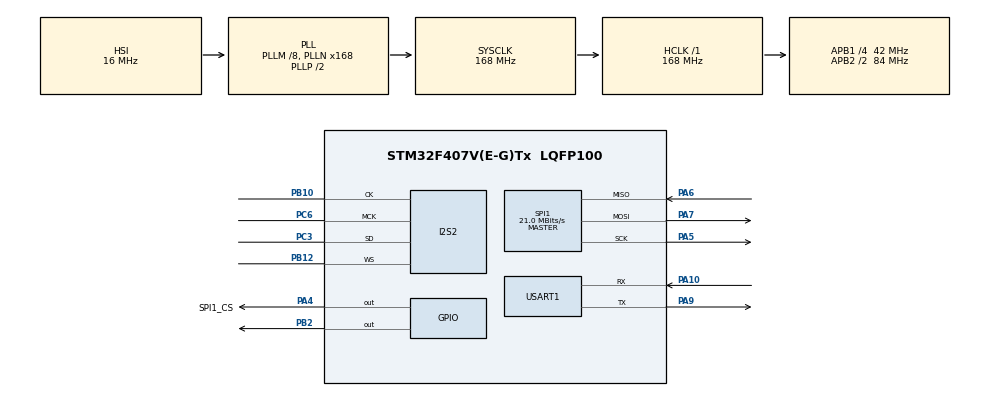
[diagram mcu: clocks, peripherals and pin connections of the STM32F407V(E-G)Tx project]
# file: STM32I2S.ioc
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Dma.Request0=SPI2_TX
Dma.SPI2_TX.0.Direction=DMA_MEMORY_TO_PERIPH
Dma.SPI2_TX.0.FIFOMode=DMA_FIFOMODE_ENABLE
Dma.SPI2_TX.0.FIFOThreshold=DMA_FIFO_THRESHOLD_FULL
Dma.SPI2_TX.0.Instance=DMA1_Stream4
Dma.SPI2_TX.0.MemBurst=DMA_MBURST_SINGLE
Dma.SPI2_TX.0.MemDataAlignment=DMA_MDATAALIGN_HALFWORD
Dma.SPI2_TX.0.MemInc=DMA_MINC_ENABLE
Dma.SPI2_TX.0.Mode=DMA_CIRCULAR
Dma.SPI2_TX.0.PeriphBurst=DMA_PBURST_SINGLE
Dma.SPI2_TX.0.PeriphDataAlignment=DMA_PDATAALIGN_HALFWORD
Dma.SPI2_TX.0.PeriphInc=DMA_PINC_DISABLE
Dma.SPI2_TX.0.Priority=DMA_PRIORITY_MEDIUM
FATFS._CODE_PAGE=437
FATFS._USE_FIND=1
FATFS._USE_FORWARD=1
I2S2.AudioFreq=I2S_AUDIOFREQ_44K
I2S2.CPOL=I2S_CPOL_LOW
I2S2.ErrorAudioFreq=-0.56 %
I2S2.FullDuplexMode=I2S_FULLDUPLEXMODE_DISABLE
I2S2.Instance=SPI$Index
I2S2.RealAudioFreq=43.75 KHz
I2S2.VirtualMode=I2S_MODE_MASTER
Mcu.Family=STM32F4
Mcu.Name=STM32F407V(E-G)Tx
Mcu.Package=LQFP100
NVIC.DMA1_Stream4_IRQn=true\:0\:0\:false\:false\:true\:false\:true\:true
NVIC.PriorityGroup=NVIC_PRIORITYGROUP_4
NVIC.SPI1_IRQn=true\:0\:0\:false\:false\:true\:true\:true\:true
NVIC.SPI2_IRQn=true\:0\:0\:false\:false\:true\:true\:true\:true
NVIC.TIM2_IRQn=true\:0\:0\:false\:false\:true\:true\:true\:true
PA10.Mode=Asynchronous
PA10.Signal=USART1_RX
PA13.Mode=Serial_Wire
PA13.Signal=SYS_JTMS-SWDIO
PA14.Mode=Serial_Wire
PA14.Signal=SYS_JTCK-SWCLK
PA4.GPIO_Label=SPI1_CS
PA4.GPIO_PuPd=GPIO_NOPULL
PA4.Signal=GPIO_Output
PA5.GPIO_PuPd=GPIO_NOPULL
PA5.Mode=Full_Duplex_Master
PA5.Signal=SPI1_SCK
PA6.Mode=Full_Duplex_Master
PA6.Signal=SPI1_MISO
PA7.Mode=Full_Duplex_Master
PA7.Signal=SPI1_MOSI
PA9.Mode=Asynchronous
PA9.Signal=USART1_TX
PB10.Mode=Half_Duplex_Master
PB10.Signal=I2S2_CK
PB12.Mode=Half_Duplex_Master
PB12.Signal=I2S2_WS
PB2.Signal=GPIO_Output
PC14-OSC32_IN.Mode=LSE-External-Oscillator
PC14-OSC32_IN.Signal=RCC_OSC32_IN
PC15-OSC32_OUT.Mode=LSE-External-Oscillator
PC15-OSC32_OUT.Signal=RCC_OSC32_OUT
PC3.Mode=Half_Duplex_Master
PC3.Signal=I2S2_SD
PC6.Mode=Master_Clock_Activated
PC6.Signal=I2S2_MCK
PH0-OSC_IN.Mode=HSE-External-Oscillator
PH0-OSC_IN.Signal=RCC_OSC_IN
PH1-OSC_OUT.Mode=HSE-External-Oscillator
PH1-OSC_OUT.Signal=RCC_OSC_OUT
ProjectManager.HeapSize=0x2000
ProjectManager.StackSize=0x2000
ProjectManager.TargetToolchain=MDK-ARM V5.32
RCC.48MHZClocksFreq_Value=84000000
RCC.AHBFreq_Value=168000000
RCC.APB1CLKDivider=RCC_HCLK_DIV4
RCC.APB1Freq_Value=42000000
RCC.APB1TimFreq_Value=84000000
RCC.APB2CLKDivider=RCC_HCLK_DIV2
RCC.APB2Freq_Value=84000000
RCC.APB2TimFreq_Value=168000000
RCC.CortexFreq_Value=168000000
RCC.HCLKFreq_Value=168000000
RCC.HSE_VALUE=25000000
RCC.HSI_VALUE=16000000
RCC.PLLI2SN=168
RCC.PLLM=8
RCC.PLLN=168
RCC.SYSCLKFreq_VALUE=168000000
RCC.SYSCLKSource=RCC_SYSCLKSOURCE_PLLCLK
RCC.VCOOutputFreq_Value=336000000
SPI1.BaudRatePrescaler=SPI_BAUDRATEPRESCALER_4
SPI1.CalculateBaudRate=21.0 MBits/s
SPI1.Direction=SPI_DIRECTION_2LINES
SPI1.Mode=SPI_MODE_MASTER
SPI1.VirtualType=VM_MASTER
TIM2.AutoReloadPreload=TIM_AUTORELOAD_PRELOAD_ENABLE
TIM2.Period=1905
TIM2.Prescaler=0
TIM2.TIM_MasterOutputTrigger=TIM_TRGO_UPDATE
USART1.VirtualMode=VM_ASYNC
VP_FATFS_VS_Generic.Mode=User_defined
VP_TIM2_VS_ClockSourceINT.Mode=Internal
board=custom

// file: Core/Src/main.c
/* USER CODE BEGIN Header */
/**
  ******************************************************************************
  * @file           : main.c
  * @brief          : Main program body
  ******************************************************************************
  * @attention
  *
  * Copyright (c) 2025 STMicroelectronics.
  * All rights reserved.
  *
  * This software is licensed under terms that can be found in the LICENSE file
  * in the root directory of this software component.
  * If no LICENSE file comes with this software, it is provided AS-IS.
  *
  ******************************************************************************
  */
/* USER CODE END Header */
#include "main.h"
#include "dma.h"
#include "fatfs.h"
#include "i2s.h"
#include "spi.h"
#include "tim.h"
#include "usart.h"
#include "gpio.h"

/* USER CODE BEGIN Includes */

#include "I2SD.h"

/* USER CODE END Includes */

/* USER CODE BEGIN PTD */
uint16_t DAC_SIGNAL_Sinus[32] = {
2047, 2447, 2831, 3185, 3498, 3750, 3939, 4056,
4095, 4056, 3939, 3750, 3495, 3185, 2831, 2447,
2047, 1647, 1263, 909, 599, 344, 155, 38,
0, 38, 155, 344, 599, 909, 1263, 1647
};

uint16_t DAC_SIGNAL_Triangle[32] = {
0, 256, 512, 768, 1024, 1279, 1535, 1791,
2047, 2303, 2559, 2815, 3071, 3326, 3582, 3838,
4095, 3838, 3582, 3326, 3071, 2815, 2559, 2303,
2047, 1791, 1535, 1279, 1024, 768, 512, 256
};

uint16_t DAC_SIGNAL_Sawtooth[32] = {
0, 132, 264, 396, 528, 660, 792, 924,
1057, 1189, 1321, 1453, 1585, 1717, 1849, 1981,
2113, 2245, 2377, 2509, 2641, 2773, 2905, 3037,
3170, 3302, 3434, 3566, 3698, 3830, 3962, 4095
};

uint16_t DAC_SIGNAL_Square[32] = {
0, 4095
};

I2SD_HandleTypeDef hi2sd;
/* USER CODE END PTD */

void SystemClock_Config(void);

/* USER CODE BEGIN 0 */
// I2SD 初始化
// 文件系统对象
//FATFS fs;          // FatFS 工作区
//FIL file;          // 文件对象
//FRESULT res;       // 操作结果
//UINT bytesRead;    // 实际读取字节数
//uint8_t buffer[512]; // 用于存储读取的音频数据（每次读取512字节）

//// SD 卡初始化和挂载文件系统
//void SD_Card_Init(void) {
//    res = f_mount(&fs, "", 1);  // 挂载 SD 卡到根目录（""）
//    if (res != FR_OK) {
//        printf("FatFS mount failed with error %d\r\n", res);
//        return;
//    }
//    printf("SD card mounted successfully\r\n");

//    // 打开文件（读取模式）
//    res = f_open(&file, "0:/ZARD1.wav", FA_READ);  // 假设文件在 SD 卡根目录
//    if (res != FR_OK) {
//        printf("Failed to open file: %d\r\n", res);
//        return;
//    }
//    printf("File opened successfully\r\n");
//}

//// 读取文件并播放音频
//void Read_File_And_Play(void) {
//    // 不断从文件中读取数据并播放

//
//        res = f_read(&file, buffer, sizeof(buffer), &bytesRead);  // 读取 512 字节
//        if (res != FR_OK || bytesRead == 0) {
//            // 文件读取结束或读取失败，停止播放
//            printf("File read complete or error occurred\r\n");
////            break;
//        }
//					// 打印读取的前256字节（调试用）
//					printf("First 256 bytes of the file:\r\n");
//					for (UINT i = 0; i < 256; i++) {
//							printf("0x%02X ", buffer[i]);
//							if ((i + 1) % 16 == 0) {
//									printf("\r\n");
//							}
//					}
//					 HAL_I2S_Transmit_DMA(&hi2s2, (uint16_t*)buffer, bytesRead );  // 16-bit 数据，需要转为 half-word 格式

//        // 将读取的音频数据发送到 I2S 播放
//

//        // 这里可以加入一些延时（例如通过定时器/软件延时）来确保缓冲区填充完成再继续下一次读取
//        // 以免数据溢出。通常，DMA 会在传输完一个缓冲区后触发中断。

//        // 检查 DMA 是否完成上一轮传输，如果已完成，再进行下一轮读取填充
//        // 可以通过设置标志位（如 halfEmpty/fullEmpty）来控制
//
//}

//// 停止和卸载文件系统
//void SD_Card_DeInit(void) {
//    f_close(&file);  // 关闭文件
//    f_mount(NULL, "", 1);  // 卸载文件系统
//    printf("SD card deinitialized and file closed\r\n");
//}

/* USER CODE END 0 */

int main(void)
{

  /* MCU Configuration--------------------------------------------------------*/

  /* Reset of all peripherals, Initializes the Flash interface and the Systick. */
  HAL_Init();

  /* Configure the system clock */
  SystemClock_Config();

  /* Initialize all configured peripherals */
  MX_GPIO_Init();
  MX_DMA_Init();
  MX_I2S2_Init();
  MX_USART1_UART_Init();
  MX_SPI1_Init();
  MX_FATFS_Init();
  MX_TIM2_Init();
  /* USER CODE BEGIN 2 */
	I2SD_Init(&hi2sd);
	I2SD_PlayWav(&hi2sd, "ZARD2.wav");
	while(1){
		I2SD_Process(&hi2sd);
		printf("Is ok");
		HAL_Delay(1000);
	}

//    // 初始化 SD 卡并挂载 FatFS
//    SD_Card_Init();

//    // 读取并播放文件
//    Read_File_And_Play();

//    // 停止和卸载 SD 卡
//    SD_Card_Det();2
//		Get_SDCard_Capacity();
//		ReadFromSD("0:/ZARD.wav",4096*4);
//	printf("1");
//
//	HAL_I2S_Transmit_DMA(&hi2s2,DAC_SIGNAL_Sinus,32);
//	printf("2");
//	Get_SDCard_Capacity();

//	I2SD_InitExample();
  /* USER CODE END 2 */

  /* Infinite loop */
  /* USER CODE BEGIN WHILE */
  while (1)
  {
        // 处理 I2SD 播放逻辑
//        I2SD_Process(&hi2sd);  // 持续更新缓冲区并播放音频
    /* USER CODE END WHILE */

  }
}

void SystemClock_Config(void)
{
  RCC_OscInitTypeDef RCC_OscInitStruct = {0};
  RCC_ClkInitTypeDef RCC_ClkInitStruct = {0};

  /** Configure the main internal regulator output voltage
  */
  __HAL_RCC_PWR_CLK_ENABLE();
  __HAL_PWR_VOLTAGESCALING_CONFIG(PWR_REGULATOR_VOLTAGE_SCALE1);

  /** Initializes the RCC Oscillators according to the specified parameters
  * in the RCC_OscInitTypeDef structure.
  */
  RCC_OscInitStruct.OscillatorType = RCC_OSCILLATORTYPE_HSI;
  RCC_OscInitStruct.HSIState = RCC_HSI_ON;
  RCC_OscInitStruct.HSICalibrationValue = RCC_HSICALIBRATION_DEFAULT;
  RCC_OscInitStruct.PLL.PLLState = RCC_PLL_ON;
  RCC_OscInitStruct.PLL.PLLSource = RCC_PLLSOURCE_HSI;
  RCC_OscInitStruct.PLL.PLLM = 8;
  RCC_OscInitStruct.PLL.PLLN = 168;
  RCC_OscInitStruct.PLL.PLLP = RCC_PLLP_DIV2;
  RCC_OscInitStruct.PLL.PLLQ = 4;
  if (HAL_RCC_OscConfig(&RCC_OscInitStruct) != HAL_OK)
  {
    Error_Handler();
  }

  /** Initializes the CPU, AHB and APB buses clocks
  */
  RCC_ClkInitStruct.ClockType = RCC_CLOCKTYPE_HCLK|RCC_CLOCKTYPE_SYSCLK
                              |RCC_CLOCKTYPE_PCLK1|RCC_CLOCKTYPE_PCLK2;
  RCC_ClkInitStruct.SYSCLKSource = RCC_SYSCLKSOURCE_PLLCLK;
  RCC_ClkInitStruct.AHBCLKDivider = RCC_SYSCLK_DIV1;
  RCC_ClkInitStruct.APB1CLKDivider = RCC_HCLK_DIV4;
  RCC_ClkInitStruct.APB2CLKDivider = RCC_HCLK_DIV2;

  if (HAL_RCC_ClockConfig(&RCC_ClkInitStruct, FLASH_LATENCY_5) != HAL_OK)
  {
    Error_Handler();
  }
}

/* USER CODE BEGIN 4 */

int fputc(int ch, FILE *f)
{
    HAL_UART_Transmit(&huart1, (uint8_t *)&ch, 1, HAL_MAX_DELAY);
    return ch;
}

/* USER CODE END 4 */

void Error_Handler(void)
{
  __disable_irq();
  while (1)
  {
  }
}
